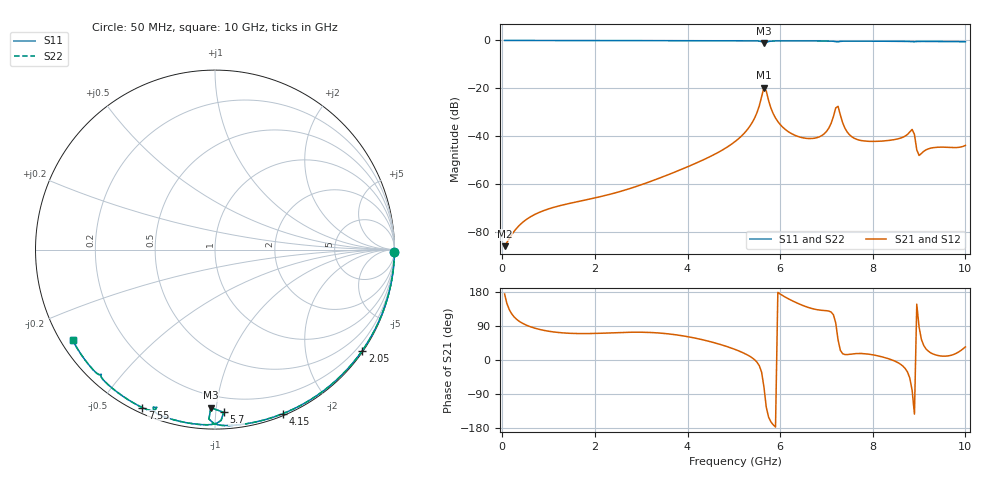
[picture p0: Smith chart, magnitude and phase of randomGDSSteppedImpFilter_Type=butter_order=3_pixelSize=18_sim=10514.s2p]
! freq	dB(S11)	phase(S11)	dB(S12)	phase(S12)
!  dB(S21)	phase(S21)	dB(S22)	phase(S22)
!S-par simulation data
#  GHz  S  DB  R 50
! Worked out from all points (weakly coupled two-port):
!   200 points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, 50 MHz to 10 GHz, reference 50 ohm
!   highest |S21| = -19.68 dB at 5.65 GHz (marker M1); lowest = -85.9 dB at 50 MHz (marker M2)
!   lowest |S11| = -1.1 dB at 5.65 GHz (marker M3), VSWR 15.89, Z = 6.11 - j48.3 ohm
!   |S11| at or under -10 dB: nowhere
!   |S22| runs from -1.1 to 0.0 dB; largest |S21 - S12| = 0
!   S11 on the Smith chart (normalised r, x): 50 MHz: open; 2.05 GHz: 0.03, -3.23; 4.15 GHz: 0.02, -1.49; 5.7 GHz: 0.10, -1.05; 7.55 GHz: 0.02, -0.64; 10 GHz: 0.03, -0.29
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0.05  -0.00 -0.9  -85.94 174.0  -85.94 174.0  -0.00 -0.9
0.25  -0.00 -4.3  -79.89 114.4  -79.89 114.4  -0.00 -4.3
0.85  -0.02 -14.5  -71.41 79.4  -71.41 79.4  -0.02 -14.5
1.75  -0.04 -29.5  -66.83 69.6  -66.83 69.6  -0.04 -29.5
2.05  -0.04 -34.4  -65.56 70.3  -65.56 70.3  -0.04 -34.4
3.4  -0.07 -56.0  -57.46 71.1  -57.46 71.1  -0.07 -56.0
4.15  -0.10 -67.6  -51.55 58.1  -51.55 58.1  -0.09 -67.6
5.05  -0.13 -81.2  -41.88 26.7  -41.88 26.7  -0.13 -81.3
5.45  -0.18 -88.0  -32.36 0.5  -32.36 0.5  -0.18 -88.0
5.65  -1.10 -91.5  -19.68 -71.3  -19.68 -71.3  -1.10 -91.5
5.7  -0.84 -87.0  -21.12 -124.2  -21.12 -124.2  -0.85 -87.0
5.85  -0.24 -90.5  -30.58 -171.1  -30.58 -171.1  -0.24 -90.5
6.05  -0.19 -94.1  -36.13 170.3  -36.13 170.3  -0.19 -94.1
6.7  -0.21 -103.7  -40.93 135.4  -40.93 135.4  -0.21 -103.7
7  -0.25 -108.1  -38.03 130.0  -38.03 130.0  -0.25 -108.1
7.25  -0.57 -110.3  -27.50 53.4  -27.50 53.4  -0.57 -110.3
7.4  -0.29 -112.3  -36.70 14.3  -36.70 14.3  -0.29 -112.3
7.55  -0.28 -114.6  -40.26 15.9  -40.26 15.9  -0.28 -114.7
8.35  -0.34 -125.6  -41.76 3.0  -41.76 3.0  -0.34 -125.6
8.85  -0.51 -132.4  -37.16 -80.3  -37.16 -80.3  -0.50 -132.4
9  -0.42 -133.6  -48.04 86.9  -48.04 86.9  -0.42 -133.6
10  -0.54 -147.5  -43.84 34.6  -43.84 34.6  -0.54 -147.5
